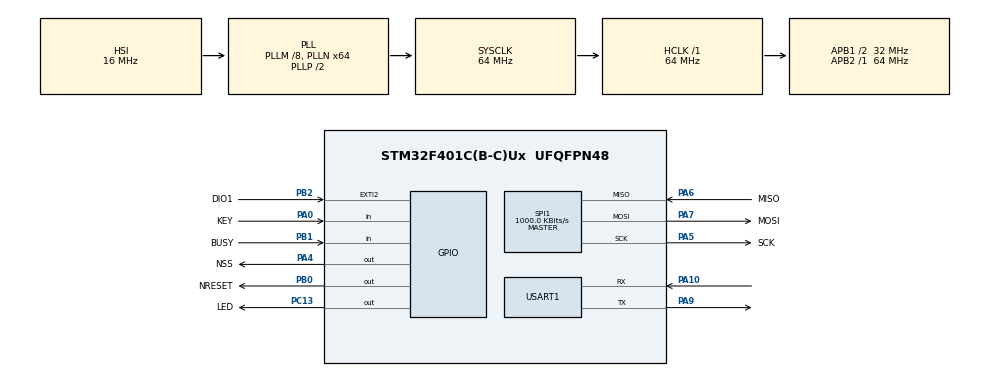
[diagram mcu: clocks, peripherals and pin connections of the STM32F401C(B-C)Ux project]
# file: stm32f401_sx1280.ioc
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Mcu.Family=STM32F4
Mcu.Name=STM32F401C(B-C)Ux
Mcu.Package=UFQFPN48
NVIC.PriorityGroup=NVIC_PRIORITYGROUP_4
PA0-WKUP.GPIO_Label=KEY
PA0-WKUP.GPIO_PuPd=GPIO_PULLUP
PA0-WKUP.Signal=GPIO_Input
PA10.Mode=Asynchronous
PA10.Signal=USART1_RX
PA13.Mode=Serial_Wire
PA13.Signal=SYS_JTMS-SWDIO
PA14.Mode=Serial_Wire
PA14.Signal=SYS_JTCK-SWCLK
PA4.GPIO_Label=NSS
PA4.Signal=GPIO_Output
PA5.GPIO_Label=SCK
PA5.Mode=Full_Duplex_Master
PA5.Signal=SPI1_SCK
PA6.GPIO_Label=MISO
PA6.Mode=Full_Duplex_Master
PA6.Signal=SPI1_MISO
PA7.GPIO_Label=MOSI
PA7.Mode=Full_Duplex_Master
PA7.Signal=SPI1_MOSI
PA9.Mode=Asynchronous
PA9.Signal=USART1_TX
PB0.GPIO_Label=NRESET
PB0.Signal=GPIO_Output
PB1.GPIO_Label=BUSY
PB1.Signal=GPIO_Input
PB2.GPIO_Label=DIO1
PB2.GPIO_ModeDefaultEXTI=GPIO_MODE_IT_RISING
PB2.Signal=GPXTI2
PC13-ANTI_TAMP.GPIO_Label=LED
PC13-ANTI_TAMP.Signal=GPIO_Output
ProjectManager.HeapSize=0x200
ProjectManager.StackSize=0x400
ProjectManager.TargetToolchain=STM32CubeIDE
RCC.48MHZClocksFreq_Value=32000000
RCC.AHBFreq_Value=64000000
RCC.APB1CLKDivider=RCC_HCLK_DIV2
RCC.APB1Freq_Value=32000000
RCC.APB1TimFreq_Value=64000000
RCC.APB2Freq_Value=64000000
RCC.APB2TimFreq_Value=64000000
RCC.CortexFreq_Value=64000000
RCC.HCLKFreq_Value=64000000
RCC.HSE_VALUE=25000000
RCC.HSI_VALUE=16000000
RCC.LSE_VALUE=32768
RCC.PLLM=8
RCC.PLLN=64
RCC.SYSCLKFreq_VALUE=64000000
RCC.SYSCLKSource=RCC_SYSCLKSOURCE_PLLCLK
RCC.VCOOutputFreq_Value=128000000
SPI1.BaudRatePrescaler=SPI_BAUDRATEPRESCALER_64
SPI1.CalculateBaudRate=1000.0 KBits/s
SPI1.Direction=SPI_DIRECTION_2LINES
SPI1.Mode=SPI_MODE_MASTER
SPI1.VirtualType=VM_MASTER
USART1.VirtualMode=VM_ASYNC
VP_CRC_VS_CRC.Mode=CRC_Activate
board=custom

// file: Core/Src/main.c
/* USER CODE BEGIN Header */
/**
  ******************************************************************************
  * @file           : main.c
  * @brief          : Main program body
  ******************************************************************************
  * @attention
  *
  * Copyright (c) 2026 STMicroelectronics.
  * All rights reserved.
  *
  * This software is licensed under terms that can be found in the LICENSE file
  * in the root directory of this software component.
  * If no LICENSE file comes with this software, it is provided AS-IS.
  *
  ******************************************************************************
  */
/* USER CODE END Header */
#include "main.h"

/* USER CODE BEGIN Includes */
#include "sx1280/sx1280.h"
#include "crsf/crsf.h"
#include <string.h>
/* USER CODE END Includes */

CRC_HandleTypeDef hcrc;

SPI_HandleTypeDef hspi1;

UART_HandleTypeDef huart1;

void SystemClock_Config(void);
static void MX_GPIO_Init(void);
static void MX_SPI1_Init(void);
static void MX_CRC_Init(void);
static void MX_USART1_UART_Init(void);

int main(void)
{

  /* MCU Configuration--------------------------------------------------------*/

  /* Reset of all peripherals, Initializes the Flash interface and the Systick. */
  HAL_Init();

  /* Configure the system clock */
  SystemClock_Config();

  /* Initialize all configured peripherals */
  MX_GPIO_Init();
  MX_SPI1_Init();
  MX_CRC_Init();
  MX_USART1_UART_Init();
  /* USER CODE BEGIN 2 */

  HAL_GPIO_WritePin(LED_GPIO_Port, LED_Pin, SET);

  uint8_t payload[11] = {0};
  memset((void *)payload, 0xAA, 11);

  SX128_reset();
  SX1280_setStandby(0x00); 		// STDBY_RC
  SX1280_setPacketType(0x01);	// PACKET_TYPE_LORA
  SX1280_setModulationParams();
  SX1280_setPacketParams(sizeof(payload));
  SX1280_setRfFrequency(2404000000);
  SX1280_setTxParams(TX_OUTPUT_POWER, RADIO_RAMP_02_US);

  /* USER CODE END 2 */

  /* Infinite loop */
  /* USER CODE BEGIN WHILE */

  SX1280_setDioIrqParams(IRQ_TX_DONE | IRQ_RX_DONE, IRQ_TX_DONE | IRQ_RX_DONE, IRQ_RADIO_NONE, IRQ_RADIO_NONE);
  SX1280_clearIrq(IRQ_RADIO_ALL);

  SX1280_setRx(0);
  while (1)
  {
	if(!HAL_GPIO_ReadPin(KEY_GPIO_Port, KEY_Pin)){
		HAL_Delay(20);
		if(!HAL_GPIO_ReadPin(KEY_GPIO_Port, KEY_Pin)){
		  uint8_t crc = crsf_crc8(payload, sizeof(payload) - 1);
		  payload[sizeof(payload)] = crc;
		  SX1280_setPayload(payload, sizeof(payload));
		  SX1280_setTx(0);

		  HAL_GPIO_WritePin(LED_GPIO_Port, LED_Pin, RESET);
		  HAL_Delay(100);
		  HAL_GPIO_WritePin(LED_GPIO_Port, LED_Pin, SET);
		  HAL_Delay(100);
		}
	}

	uint16_t irq_status = SX1280_getIrqStatus();
	if((irq_status & IRQ_TX_DONE) == IRQ_TX_DONE){
	  SX1280_clearIrq(IRQ_TX_DONE);
      SX1280_setRx(0);
	}
	if((irq_status & IRQ_RX_DONE) == IRQ_RX_DONE){
      SX1280_clearIrq(IRQ_RX_DONE);
      SX1280_setRx(0);

      uint8_t payloadLen, rxOffset;
      SX1280_GetRxBufferStatus(&payloadLen, &rxOffset);
      SX1280_ReadBuffer(rxOffset, payload, payloadLen);

      uint8_t crc = crsf_crc8(payload, sizeof(payload) - 1);
      if(payload[sizeof(payload)] == crc){
    	  HAL_GPIO_WritePin(LED_GPIO_Port, LED_Pin, RESET);
    	  HAL_Delay(100);
    	  HAL_GPIO_WritePin(LED_GPIO_Port, LED_Pin, SET);
    	  HAL_Delay(100);
      }
      memset((void *)payload, 0x55, sizeof(payload));

	}
	/* USER CODE END WHILE */

  }
}

void SystemClock_Config(void)
{
  RCC_OscInitTypeDef RCC_OscInitStruct = {0};
  RCC_ClkInitTypeDef RCC_ClkInitStruct = {0};

  /** Configure the main internal regulator output voltage
  */
  __HAL_RCC_PWR_CLK_ENABLE();
  __HAL_PWR_VOLTAGESCALING_CONFIG(PWR_REGULATOR_VOLTAGE_SCALE2);

  /** Initializes the RCC Oscillators according to the specified parameters
  * in the RCC_OscInitTypeDef structure.
  */
  RCC_OscInitStruct.OscillatorType = RCC_OSCILLATORTYPE_HSI;
  RCC_OscInitStruct.HSIState = RCC_HSI_ON;
  RCC_OscInitStruct.HSICalibrationValue = RCC_HSICALIBRATION_DEFAULT;
  RCC_OscInitStruct.PLL.PLLState = RCC_PLL_ON;
  RCC_OscInitStruct.PLL.PLLSource = RCC_PLLSOURCE_HSI;
  RCC_OscInitStruct.PLL.PLLM = 8;
  RCC_OscInitStruct.PLL.PLLN = 64;
  RCC_OscInitStruct.PLL.PLLP = RCC_PLLP_DIV2;
  RCC_OscInitStruct.PLL.PLLQ = 4;
  if (HAL_RCC_OscConfig(&RCC_OscInitStruct) != HAL_OK)
  {
    Error_Handler();
  }

  /** Initializes the CPU, AHB and APB buses clocks
  */
  RCC_ClkInitStruct.ClockType = RCC_CLOCKTYPE_HCLK|RCC_CLOCKTYPE_SYSCLK
                              |RCC_CLOCKTYPE_PCLK1|RCC_CLOCKTYPE_PCLK2;
  RCC_ClkInitStruct.SYSCLKSource = RCC_SYSCLKSOURCE_PLLCLK;
  RCC_ClkInitStruct.AHBCLKDivider = RCC_SYSCLK_DIV1;
  RCC_ClkInitStruct.APB1CLKDivider = RCC_HCLK_DIV2;
  RCC_ClkInitStruct.APB2CLKDivider = RCC_HCLK_DIV1;

  if (HAL_RCC_ClockConfig(&RCC_ClkInitStruct, FLASH_LATENCY_2) != HAL_OK)
  {
    Error_Handler();
  }
}

static void MX_CRC_Init(void)
{

  hcrc.Instance = CRC;
  if (HAL_CRC_Init(&hcrc) != HAL_OK)
  {
    Error_Handler();
  }

}

static void MX_SPI1_Init(void)
{

  /* SPI1 parameter configuration*/
  hspi1.Instance = SPI1;
  hspi1.Init.Mode = SPI_MODE_MASTER;
  hspi1.Init.Direction = SPI_DIRECTION_2LINES;
  hspi1.Init.DataSize = SPI_DATASIZE_8BIT;
  hspi1.Init.CLKPolarity = SPI_POLARITY_LOW;
  hspi1.Init.CLKPhase = SPI_PHASE_1EDGE;
  hspi1.Init.NSS = SPI_NSS_SOFT;
  hspi1.Init.BaudRatePrescaler = SPI_BAUDRATEPRESCALER_64;
  hspi1.Init.FirstBit = SPI_FIRSTBIT_MSB;
  hspi1.Init.TIMode = SPI_TIMODE_DISABLE;
  hspi1.Init.CRCCalculation = SPI_CRCCALCULATION_DISABLE;
  hspi1.Init.CRCPolynomial = 10;
  if (HAL_SPI_Init(&hspi1) != HAL_OK)
  {
    Error_Handler();
  }

}

static void MX_USART1_UART_Init(void)
{

  huart1.Instance = USART1;
  huart1.Init.BaudRate = 115200;
  huart1.Init.WordLength = UART_WORDLENGTH_8B;
  huart1.Init.StopBits = UART_STOPBITS_1;
  huart1.Init.Parity = UART_PARITY_NONE;
  huart1.Init.Mode = UART_MODE_TX_RX;
  huart1.Init.HwFlowCtl = UART_HWCONTROL_NONE;
  huart1.Init.OverSampling = UART_OVERSAMPLING_16;
  if (HAL_UART_Init(&huart1) != HAL_OK)
  {
    Error_Handler();
  }

}

static void MX_GPIO_Init(void)
{
  GPIO_InitTypeDef GPIO_InitStruct = {0};

  /* GPIO Ports Clock Enable */
  __HAL_RCC_GPIOC_CLK_ENABLE();
  __HAL_RCC_GPIOA_CLK_ENABLE();
  __HAL_RCC_GPIOB_CLK_ENABLE();

  /*Configure GPIO pin Output Level */
  HAL_GPIO_WritePin(LED_GPIO_Port, LED_Pin, GPIO_PIN_RESET);

  /*Configure GPIO pin Output Level */
  HAL_GPIO_WritePin(NSS_GPIO_Port, NSS_Pin, GPIO_PIN_RESET);

  /*Configure GPIO pin Output Level */
  HAL_GPIO_WritePin(NRESET_GPIO_Port, NRESET_Pin, GPIO_PIN_RESET);

  /*Configure GPIO pin : LED_Pin */
  GPIO_InitStruct.Pin = LED_Pin;
  GPIO_InitStruct.Mode = GPIO_MODE_OUTPUT_PP;
  GPIO_InitStruct.Pull = GPIO_NOPULL;
  GPIO_InitStruct.Speed = GPIO_SPEED_FREQ_LOW;
  HAL_GPIO_Init(LED_GPIO_Port, &GPIO_InitStruct);

  /*Configure GPIO pin : KEY_Pin */
  GPIO_InitStruct.Pin = KEY_Pin;
  GPIO_InitStruct.Mode = GPIO_MODE_INPUT;
  GPIO_InitStruct.Pull = GPIO_PULLUP;
  HAL_GPIO_Init(KEY_GPIO_Port, &GPIO_InitStruct);

  /*Configure GPIO pin : NSS_Pin */
  GPIO_InitStruct.Pin = NSS_Pin;
  GPIO_InitStruct.Mode = GPIO_MODE_OUTPUT_PP;
  GPIO_InitStruct.Pull = GPIO_NOPULL;
  GPIO_InitStruct.Speed = GPIO_SPEED_FREQ_LOW;
  HAL_GPIO_Init(NSS_GPIO_Port, &GPIO_InitStruct);

  /*Configure GPIO pin : NRESET_Pin */
  GPIO_InitStruct.Pin = NRESET_Pin;
  GPIO_InitStruct.Mode = GPIO_MODE_OUTPUT_PP;
  GPIO_InitStruct.Pull = GPIO_NOPULL;
  GPIO_InitStruct.Speed = GPIO_SPEED_FREQ_LOW;
  HAL_GPIO_Init(NRESET_GPIO_Port, &GPIO_InitStruct);

  /*Configure GPIO pin : BUSY_Pin */
  GPIO_InitStruct.Pin = BUSY_Pin;
  GPIO_InitStruct.Mode = GPIO_MODE_INPUT;
  GPIO_InitStruct.Pull = GPIO_NOPULL;
  HAL_GPIO_Init(BUSY_GPIO_Port, &GPIO_InitStruct);

  /*Configure GPIO pin : DIO1_Pin */
  GPIO_InitStruct.Pin = DIO1_Pin;
  GPIO_InitStruct.Mode = GPIO_MODE_IT_RISING;
  GPIO_InitStruct.Pull = GPIO_NOPULL;
  HAL_GPIO_Init(DIO1_GPIO_Port, &GPIO_InitStruct);

}

void Error_Handler(void)
{
  __disable_irq();
  while (1)
  {
  }
}
